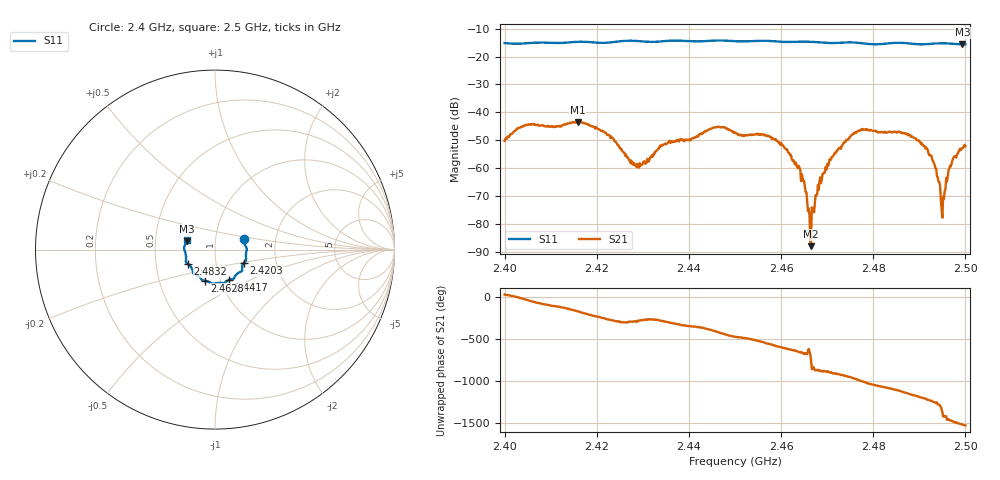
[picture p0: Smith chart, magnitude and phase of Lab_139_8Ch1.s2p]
# Hz S RI R
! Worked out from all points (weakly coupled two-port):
!   601 points, 2.4 GHz to 2.5 GHz, reference 50 ohm
!   highest |S21| = -43.35 dB at 2.4158 GHz (marker M1); lowest = -87.8 dB at 2.4665 GHz (marker M2)
!   lowest |S11| = -15.7 dB at 2.4993 GHz (marker M3), VSWR 1.39, Z = 36.2 + j3.39 ohm
!   |S11| at or under -10 dB: start of sweep to end of sweep
!   S12 and S22 are empty: the file has one direction only
!   S11 on the Smith chart (normalised r, x): 2.4 GHz: 1.38, +0.17; 2.4203 GHz: 1.36, -0.21; 2.4417 GHz: 1.09, -0.38; 2.4628 GHz: 0.84, -0.30; 2.4832 GHz: 0.73, -0.12; 2.5 GHz: 0.73, +0.08
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2.4e9  0.163 0.0598  0.00282 0.00128  0 0  0 0
2.404833e9  0.1716 0.0178  0.0046 -0.0038  0 0  0 0
2.415833e9  0.1742 -0.0564  -0.00678 -0.000566  0 0  0 0
2.416667e9  0.1737 -0.0595  -0.00665 0.00117  0 0  0 0
2.420333e9  0.1597 -0.0742  -0.00232 0.00451  0 0  0 0
2.428667e9  0.1444 -0.1228  0.000578 0.000875  0 0  0 0
2.433333e9  0.1132 -0.1455  0.000362 0.00223  0 0  0 0
2.441667e9  0.0758 -0.1695  0.00374 -6.19e-05  0 0  0 0
2.45e9  0.0327 -0.1849  -0.00209 -0.00376  0 0  0 0
2.457333e9  -0.0169 -0.189  -0.00351 0.00147  0 0  0 0
2.462833e9  -0.0567 -0.1738  0.000243 0.00126  0 0  0 0
2.4665e9  -0.0741 -0.1673  3.45e-05 -2.2e-05  0 0  0 0
2.466667e9  -0.0746 -0.1668  -0.000162 -0.00012  0 0  0 0
2.4695e9  -0.0873 -0.1521  -0.000839 -0.00014  0 0  0 0
2.473833e9  -0.116 -0.1352  -0.00226 0.00201  0 0  0 0
2.483167e9  -0.1519 -0.0795  0.00436 -0.000604  0 0  0 0
2.483333e9  -0.1529 -0.0787  0.00442 -0.000809  0 0  0 0
2.491333e9  -0.1645 -0.0194  -0.00166 -0.00157  0 0  0 0
2.495167e9  -0.1722 0.0112  0.000309 5.77e-05  0 0  0 0
2.496833e9  -0.1684 0.0221  0.000862 -0.000667  0 0  0 0
2.499333e9  -0.1582 0.0456  0.000191 -0.00229  0 0  0 0
2.5e9  -0.1562 0.0536  -0.000153 -0.00251  0 0  0 0
